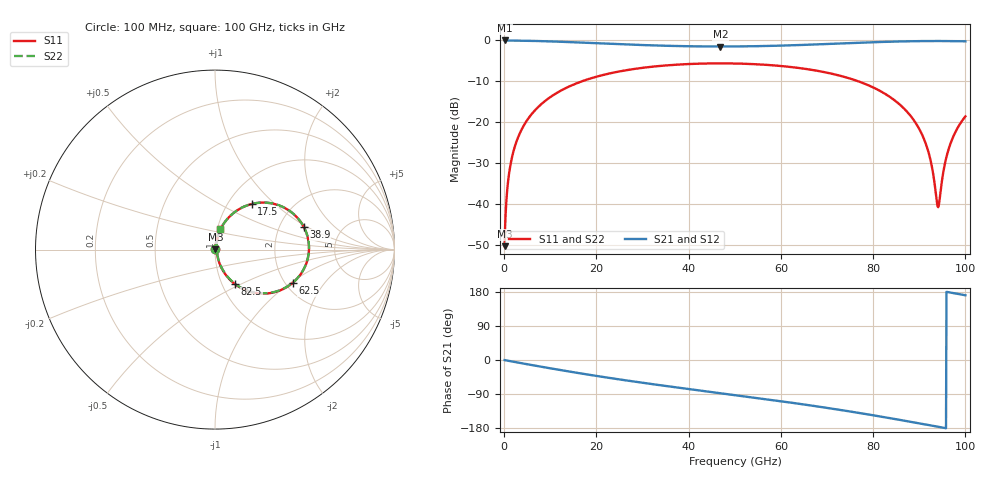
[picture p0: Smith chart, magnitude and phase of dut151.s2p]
! Touchstone file exported from HFSS 2026.1.0
!  File:  C:/ffzhzh/LocalFiles/Ansys_Project_Files/temp_train_RDL_151_1783499909_9504.aedt
!  Generated:  04:39:48 PM Jul  8, 2026
!  Design:  RDL
!  Project:  temp_train_RDL_151_1783499909_9504
! Variables:
!  h_bsmrdl = 2um
!  h_ox = 20um
!  h_rdl = 5um
!  h_sub = 80um
!  h_tmrdl = 4.62um
!  h_tsv = 80um
!  h_via = 3um
!  l_bsmrdl = 300um
!  l_sub = 1019.36um
!  l_tmrdl = 619.36um
!  m_sub = 200um
!  pitch = 59um
!  r_tsv = 6um
!  s_tmrdl = 10um
!  w_bsmrdl = 18um
!  w_sub = 500um
!  w_tmrdl = 28.57um
!  x_tsv_center1 = 633.645um
!  x_tsv_center2 = 951.645um
!  x_tsv_center3 = 1599.575um
!  x_tsv_center4 = 1917.575um
!  x_tsv_center5 = 2565.505um
!  x_tsv_center6 = 2883.505um
# GHz S MA R 50.000000
! Terminal data exported
! Port[1] = TM_RDL1_1_T1
! Port[2] = TM_RDL1_1_T2
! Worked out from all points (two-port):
!   1000 points, 100 MHz to 100 GHz, reference 50 ohm
!   highest |S21| = -0.02 dB at 100 MHz (marker M1); lowest = -1.5 dB at 46.9 GHz (marker M2)
!   |S21| within 3 dB of the highest: start of sweep to end of sweep
!   lowest |S11| = -50.3 dB at 100 MHz (marker M3), VSWR 1.01, Z = 50.2 + j0.241 ohm
!   |S11| at or under -10 dB: start of sweep to 16.87 GHz; 76.77 GHz to end of sweep
!   |S22| runs from -50.3 to -5.6 dB; largest |S21 - S12| = 2e-14
!   S11 on the Smith chart (normalised r, x): 100 MHz: 1.00, +0.00; 17.5 GHz: 1.28, +0.73; 38.9 GHz: 2.73, +0.93; 62.5 GHz: 2.18, -1.04; 82.5 GHz: 1.15, -0.47; 100 GHz: 1.03, +0.24
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0.1  0.003056 51.8  0.9981 -0.2  0.9981 -0.2  0.003056 51.8
! Gamma 0 0 0 0
! Port Impedance 50 0 50 0
0.8  0.01785 80.4  0.9974 -1.8  0.9974 -1.8  0.01785 80.4
1.4  0.03079 81.8  0.9969 -3.2  0.9969 -3.2  0.03079 81.8
2.4  0.05224 81.0  0.9954 -5.4  0.9954 -5.4  0.05224 81.0
3.9  0.08374 78.3  0.9923 -8.8  0.9923 -8.8  0.08374 78.4
8.9  0.1823 68.3  0.9765 -19.6  0.9765 -19.6  0.1823 68.3
16.8  0.3153 52.6  0.9403 -35.8  0.9403 -35.8  0.3152 52.7
17.5  0.3255 51.3  0.9367 -37.2  0.9367 -37.2  0.3254 51.3
33.4  0.485 23.1  0.8648 -65.8  0.8648 -65.8  0.4849 23.3
38.9  0.5106 14.2  0.8501 -74.8  0.8501 -74.8  0.5105 14.4
46.9  0.5239 1.7  0.842 -87.6  0.842 -87.6  0.5239 1.8
50.1  0.5217 -3.4  0.8433 -92.7  0.8433 -92.7  0.5216 -3.2
62.5  0.4704 -23.4  0.8717 -113.0  0.8717 -113.0  0.4703 -23.1
66.7  0.4364 -30.5  0.8884 -120.4  0.8884 -120.4  0.4363 -30.2
82.5  0.2239 -59.8  0.9597 -151.1  0.9597 -151.1  0.2238 -59.3
83.4  0.2079 -61.5  0.963 -153.0  0.963 -153.0  0.2079 -61.0
87.6  0.1296 -68.9  0.9753 -162.0  0.9753 -162.0  0.1295 -68.3
90.5  0.07271 -72.0  0.9803 -168.3  0.9803 -168.3  0.07271 -71.2
92.2  0.03908 -69.4  0.9818 -172.0  0.9818 -172.0  0.03916 -68.2
94.1  0.009155 5.3  0.9821 -176.2  0.9821 -176.2  0.009733 5.8
96.5  0.04953 77.0  0.9804 178.5  0.9804 178.5  0.04968 76.8
100  0.1179 75.7  0.9741 170.8  0.9741 170.8  0.118 75.8
